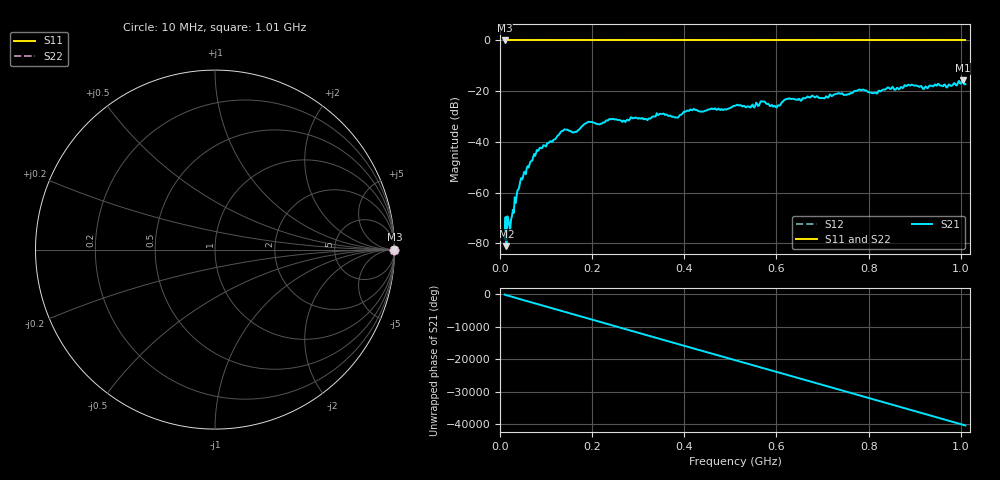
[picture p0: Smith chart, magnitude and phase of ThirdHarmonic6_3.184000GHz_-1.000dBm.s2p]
! 8/17/2025 9:37:28 AM
! C:\ANRITSUVNA\TEMP\TEMP.S2P
! CHANNEL.1
! TR.MEASUREMENT
! RAW.DATA
! RF.CORRECTION.OFF
! AVERAGING.OFF
! IF.BANDWIDTH: 5KHZ
! SWEEPTYPE:  FREQ.SWEEP(Linear)
! Reference Plane Port Info
! PORT:  PORT1  PORT2
! DISTANCE:  0  m  0  m
! TIME:  0  s  0  s
! PHASE.OFFSET:  0  deg.  0  deg.
! LOSS:  0  dB  0  dB
! REF.LOSS:  0  dB  0  dB
! REF.FREQ:  0  Hz  0  Hz
! Power Info
! POWER:  -20  dBm  -20  dBm
! EFF.POWER:  -20  dBm  -20  dBm
! SOURCE.ATTEN:  0  dB  0  dB
! TEST.ATTEN:  0  dB  0  dB
# GHZ S RI R 50.0
! FREQ.GHZ  S11RE  S11IM  S21RE  S21IM  S12RE  S12IM  S22RE  S22IM
!; PortSelection: Port_12
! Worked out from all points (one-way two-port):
!   501 points, 10 MHz to 1.01 GHz, reference 50 ohm
!   highest |S21| = -15.73 dB at 1.004 GHz (marker M1); lowest = -81.1 dB at 14 MHz (marker M2)
!   lowest |S11| = 0.0 dB at 10 MHz (marker M3)
!   |S11| at or under -10 dB: nowhere
!   |S22| runs from 0.0 to 0.0 dB; largest |S21 - S12| = 1.1
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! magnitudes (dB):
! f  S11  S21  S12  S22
! 10 MHz  0.0  -78.1  0.0  0.0
! 14 MHz  0.0  -81.1  0.0  0.0
! 26 MHz  0.0  -69.3  0.0  0.0
! 36 MHz  0.0  -61.3  0.0  0.0
! 48 MHz  0.0  -54.8  0.0  0.0
! 78 MHz  0.0  -44.5  0.0  0.0
! 136 MHz  0.0  -35.7  0.0  0.0
! 162 MHz  0.0  -36.1  0.0  0.0
! 178 MHz  0.0  -33.8  0.0  0.0
! 344 MHz  0.0  -29.4  0.0  0.0
! 384 MHz  0.0  -30.4  0.0  0.0
! 416 MHz  0.0  -27.5  0.0  0.0
! 510 MHz  0.0  -25.7  0.0  0.0
! 548 MHz  0.0  -25.3  0.0  0.0
! 570 MHz  0.0  -24.0  0.0  0.0
! 596 MHz  0.0  -25.7  0.0  0.0
! 624 MHz  0.0  -23.0  0.0  0.0
! 678 MHz  0.0  -21.7  0.0  0.0
! 814 MHz  0.0  -20.4  0.0  0.0
! 844 MHz  0.0  -18.6  0.0  0.0
! 1.004 GHz  0.0  -15.7  0.0  0.0
! 1.01 GHz  0.0  -17.2  0.0  0.0
